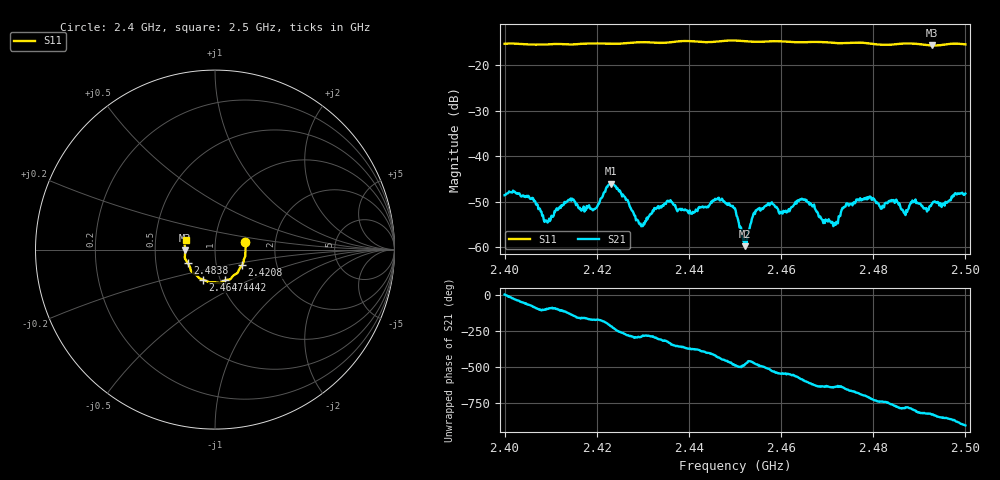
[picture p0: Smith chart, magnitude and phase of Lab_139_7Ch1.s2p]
# Hz S RI R 50
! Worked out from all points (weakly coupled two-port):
!   601 points, 2.4 GHz to 2.5 GHz, reference 50 ohm
!   highest |S21| = -46.00 dB at 2.423 GHz (marker M1); lowest = -59.8 dB at 2.4522 GHz (marker M2)
!   lowest |S11| = -15.6 dB at 2.4928 GHz (marker M3), VSWR 1.40, Z = 35.8 - j0.354 ohm
!   |S11| at or under -10 dB: start of sweep to end of sweep
!   S12 and S22 are empty: the file has one direction only
!   S11 on the Smith chart (normalised r, x): 2.4 GHz: 1.40, +0.12; 2.4208 GHz: 1.33, -0.24; 2.4442 GHz: 1.05, -0.37; 2.4647 GHz: 0.83, -0.29; 2.4838 GHz: 0.73, -0.11; 2.5 GHz: 0.72, +0.08
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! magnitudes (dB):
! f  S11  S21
! 2.4 GHz  -15.2  -48.6
! 2.4057 GHz  -15.4  -49.4
! 2.409 GHz  -15.4  -54.1
! 2.4142 GHz  -15.4  -49.7
! 2.4167 GHz  -15.2  -52.0
! 2.4208 GHz  -15.2  -49.3
! 2.423 GHz  -15.2  -46.0
! 2.4295 GHz  -14.9  -54.8
! 2.4333 GHz  -15.0  -51.0
! 2.4442 GHz  -14.9  -51.2
! 2.45 GHz  -14.5  -51.5
! 2.4522 GHz  -14.7  -59.8
! 2.4548 GHz  -14.8  -51.7
! 2.4647 GHz  -14.9  -49.5
! 2.4667 GHz  -14.8  -50.8
! 2.4718 GHz  -15.1  -55.1
! 2.4767 GHz  -15.0  -49.5
! 2.4833 GHz  -15.5  -49.9
! 2.4838 GHz  -15.4  -49.7
! 2.4868 GHz  -15.2  -52.6
! 2.4928 GHz  -15.6  -50.3
! 2.5 GHz  -15.4  -48.2
